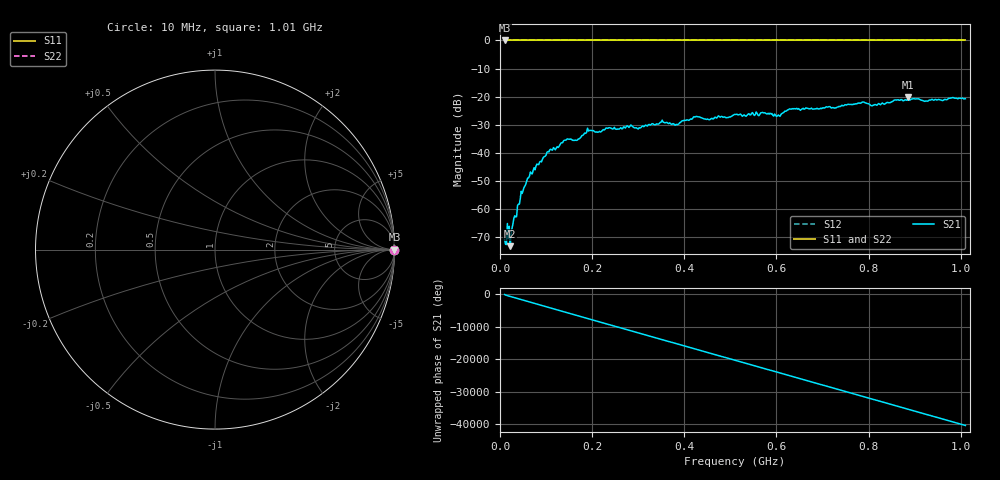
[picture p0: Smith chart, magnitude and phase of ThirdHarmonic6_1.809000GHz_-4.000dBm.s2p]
! 8/16/2025 9:54:23 PM
! C:\ANRITSUVNA\TEMP\TEMP.S2P
! CHANNEL.1
! TR.MEASUREMENT
! RAW.DATA
! RF.CORRECTION.OFF
! AVERAGING.OFF
! IF.BANDWIDTH: 5KHZ
! SWEEPTYPE:  FREQ.SWEEP(Linear)
! Reference Plane Port Info
! PORT:  PORT1  PORT2
! DISTANCE:  0  m  0  m
! TIME:  0  s  0  s
! PHASE.OFFSET:  0  deg.  0  deg.
! LOSS:  0  dB  0  dB
! REF.LOSS:  0  dB  0  dB
! REF.FREQ:  0  Hz  0  Hz
! Power Info
! POWER:  -20  dBm  -20  dBm
! EFF.POWER:  -20  dBm  -20  dBm
! SOURCE.ATTEN:  0  dB  0  dB
! TEST.ATTEN:  0  dB  0  dB
# GHZ S RI R 50.0
! FREQ.GHZ  S11RE  S11IM  S21RE  S21IM  S12RE  S12IM  S22RE  S22IM
!; PortSelection: Port_12
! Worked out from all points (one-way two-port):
!   501 points, 10 MHz to 1.01 GHz, reference 50 ohm
!   highest |S21| = -20.30 dB at 886 MHz (marker M1); lowest = -73.3 dB at 22 MHz (marker M2)
!   lowest |S11| = 0.0 dB at 10 MHz (marker M3)
!   |S11| at or under -10 dB: nowhere
!   |S22| runs from 0.0 to 0.0 dB; largest |S21 - S12| = 1.1
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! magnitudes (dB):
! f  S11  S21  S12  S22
! 10 MHz  0.0  -70.8  0.0  0.0
! 16 MHz  0.0  -65.2  0.0  0.0
! 22 MHz  0.0  -73.3  0.0  0.0
! 50 MHz  0.0  -53.5  0.0  0.0
! 76 MHz  0.0  -46.1  0.0  0.0
! 106 MHz  0.0  -39.7  0.0  0.0
! 142 MHz  0.0  -35.5  0.0  0.0
! 164 MHz  0.0  -35.5  0.0  0.0
! 178 MHz  0.0  -33.8  0.0  0.0
! 194 MHz  0.0  -32.1  0.0  0.0
! 302 MHz  0.0  -31.1  0.0  0.0
! 344 MHz  0.0  -29.8  0.0  0.0
! 384 MHz  0.0  -30.0  0.0  0.0
! 424 MHz  0.0  -27.2  0.0  0.0
! 452 MHz  0.0  -28.1  0.0  0.0
! 510 MHz  0.0  -26.3  0.0  0.0
! 604 MHz  0.0  -26.5  0.0  0.0
! 630 MHz  0.0  -24.4  0.0  0.0
! 678 MHz  0.0  -24.5  0.0  0.0
! 844 MHz  0.0  -22.2  0.0  0.0
! 886 MHz  0.0  -20.3  0.0  0.0
! 1.01 GHz  0.0  -20.7  0.0  0.0
